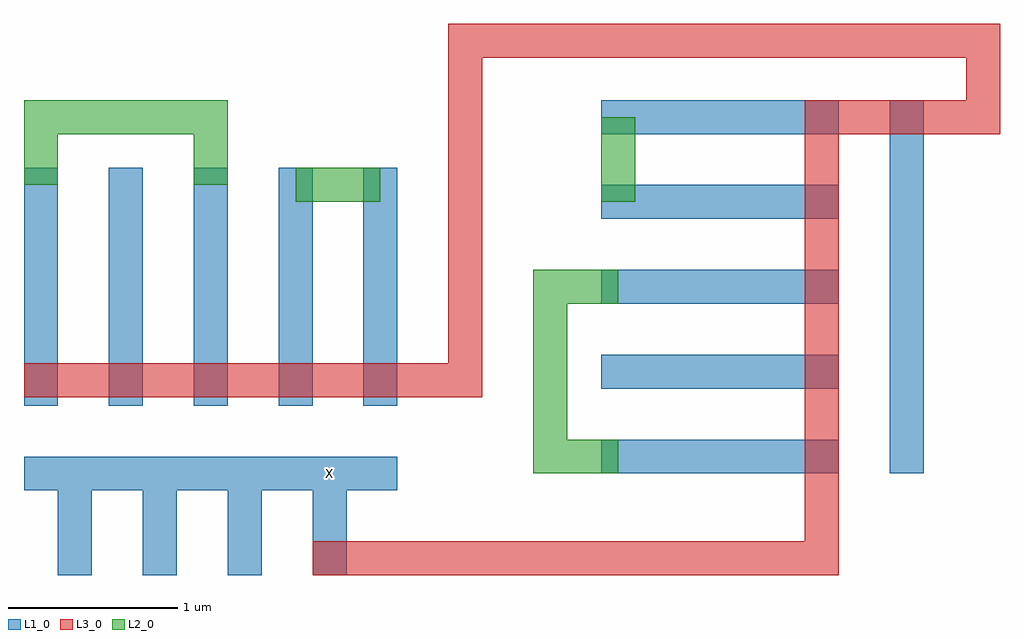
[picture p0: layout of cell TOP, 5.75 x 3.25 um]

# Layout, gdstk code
from math import pi, radians
import gdstk
lib = gdstk.Library(unit=1e-6, precision=1e-09)
def R(c, l, rs):  # rectangles x0, y0, x1, y1
    for r in rs: c.add(gdstk.rectangle(r[:2], r[2:], *l))
def A(c, l, x, y, w, h, nx, ny, dx, dy):  # array of equal rectangles
    R(c, l, [(x+i*dx, y+j*dy, x+i*dx+w, y+j*dy+h) for i in range(nx) for j in range(ny)])
L1_0 = (1, 0)
L2_0 = (2, 0)
L3_0 = (3, 0)

c_a = lib.new_cell('A')
R(c_a, L1_0, [(0,0,0.2,1.4)])
c_a.add(gdstk.Label('X', (0.1,0.7), layer=1, texttype=0))

c_b = lib.new_cell('B')
R(c_b, L1_0, [(0,-0.5,2.2,-0.3)])
c_b.add(gdstk.FlexPath([(0.1,1.3),(0.1,1.7),(1.1,1.7),(1.1,1.3)], 0.2, ends="flush", simple_path=True, layer=2, datatype=0))  # L2_0
c_b.add(gdstk.FlexPath([(1.6,1.3),(2.1,1.3)], 0.2, ends="flush", simple_path=True, layer=2, datatype=0))  # L2_0
c_b.add(gdstk.Reference(c_a, (0,0)))
c_b.add(gdstk.Reference(c_a, (0.5,0)))
c_b.add(gdstk.Reference(c_a, (1,0)))
c_b.add(gdstk.Reference(c_a, (1.5,0)))
c_b.add(gdstk.Reference(c_a, (2,0)))
c_b.add(gdstk.Label('A', (1.1,-0.4), layer=1, texttype=0))
c_b.add(gdstk.Label('A', (0.6,1.7), layer=2, texttype=0))
c_b.add(gdstk.Label('X', (1.9,1.3), layer=2, texttype=0))

top = lib.new_cell('TOP')
A(top, L1_0, 0.4, -0.3, 0.2, 0.7, 4, 1, 0.5, 0)
top.add(gdstk.FlexPath([(0.2,0.85),(2.8,0.85),(2.8,2.85),(5.85,2.85),(5.85,2.4),(4.9,2.4),(4.9,-0.2),(1.9,-0.2)], 0.2, ends="flush", simple_path=True, layer=3, datatype=0))  # L3_0
top.add(gdstk.Reference(c_b, (0.2,0.7)))
top.add(gdstk.Reference(c_b, (5,0.3), rotation=pi/2))
top.add(gdstk.Label('X', (2,0.3), layer=1, texttype=0))

lib.write_gds('TOP.gds')
